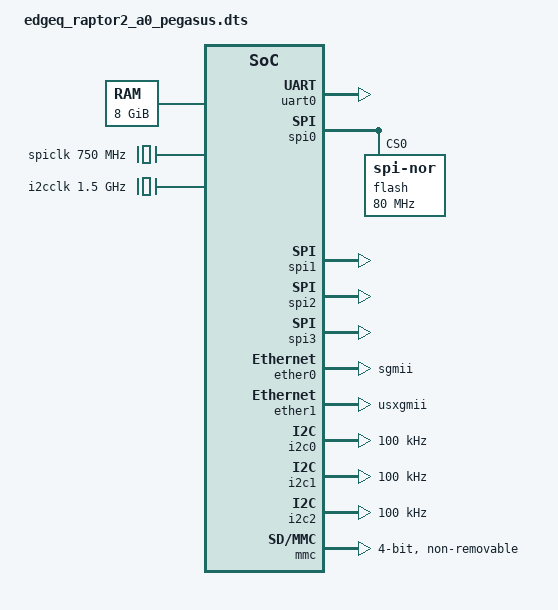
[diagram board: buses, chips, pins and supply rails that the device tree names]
/dts-v1/;

/ {
	interrupt-parent = <0x8001>;
	#size-cells = <0x2>;
	#address-cells = <0x2>;
	compatible = "linux,dummy-virt";

	aliases {
		spi0 = &spi0;
		spi1 = &spi1;
		spi2 = &spi2;
		spi3 = &spi3;
	};

	memory@400000000 {
		reg = <0x00000004 0x00000000 0x2 0x00000000>;
		device_type = "memory";
	};

	cpus {
		#size-cells = <0x0>;
		#address-cells = <0x1>;

		cpu@0 {
			reg = <0x0>;
			compatible = "arm,armv8";
			device_type = "cpu";
			enable-method = "psci";
		};

		cpu@1 {
			reg = <0x1>;
			compatible = "arm,armv8";
			device_type = "cpu";
			enable-method = "psci";
		};
	};

	psci {
		compatible = "arm,psci-1.0", "arm,psci-0.2";
		method = "smc";
	};

	chosen {
		stdout-path = &uart0;
	};

	uart0: serial@70434000 {
		clock-names = "uartclk";
		reg = <0x0 0x70434000 0x0 0x1000>;
		compatible = "ns16550a", "ns16550";
		clock-frequency = <1500000000>; /* 1.5 GHz */
		reg-shift = <3>;
		reg-offset = <0x40>;    /* Base * 2 */
	};

	spiclk: virt_100mhz {
		#clock-cells = <0>;
		compatible = "fixed-clock";
		clock-frequency = <750000000>;
	};

	spi0: spi@704d0000 {
		compatible = "andestech,atcspi200";
		reg = <0x0 0x704d0000 0x0 0x1000>;
		num-cs = <1>;
		/* interrupts = <0 12 4>; */
		clocks = <&spiclk>;
		#address-cells = <0x1>;
		#size-cells = <0x0>;
		reg-shift = <2>;
		flash@0 {
		     compatible = "jedec,spi-nor";
		     spi-max-frequency = <80000000>;
		     reg = <0>;
		};
	};

	spi1: spi@70420000 {
		compatible = "andestech,atcspi200";
		reg = <0x0 0x70420000 0x0 0x1000>;
		num-cs = <1>;
		clocks = <&spiclk>;
		#address-cells = <0x1>;
		#size-cells = <0x0>;
		reg-shift = <2>;
		data-merge;
	};

	spi2: spi@70430000 {
		compatible = "andestech,atcspi200";
		reg = <0x0 0x70430000 0x0 0x1000>;
		num-cs = <1>;
		clocks = <&spiclk>;
		#address-cells = <0x1>;
		#size-cells = <0x0>;
		reg-shift = <2>;
	};

	spi3: spi@68490000 {
		compatible = "andestech,atcspi200";
		reg = <0x0 0x68490000 0x0 0x1000>;
		num-cs = <1>;
		clocks = <&spiclk>;
		#address-cells = <0x1>;
		#size-cells = <0x0>;
		reg-shift = <1>;
	};

	ether0: ethernet@3c040000 {
		compatible = "edgeq,xgbe";
		reg = <0x0 0x3C040000 0x0 0x40000>,     // XGMAC/XLGMAC addr
		      <0x0 0x3C1C0000 0x0 0x40000>,     // XPCS/XLGPCS addr
		      <0x0 0x3C2C0000 0x0 0x10000>;     // MISC addr
		reg-names = "xgmac", "xpcs", "misc";
		max-speed = <2500>;
		phy-mode = "sgmii";
		phy-addr = <0x7>;
		phy-lane = <0>;
		eth-link = <2>;
		phy-rst-gpio = <53>;
		status = "okay";
	};

	ether1: ethernet@3c080000 {
		compatible = "edgeq,xgbe";
		reg = <0x0 0x3C080000 0x0 0x40000>,	// XGMAC/XLGMAC addr
		      <0x0 0x3C200000 0x0 0x40000>,	// XPCS/XLGPCS addr
		      <0x0 0x3C2C0000 0x0 0x10000>;	// MISC addr
		reg-names = "xgmac", "xpcs", "misc";
		max-speed = <10000>;
		phy-mode = "usxgmii";
		phy-addr = <0x0>;
		phy-lane = <1>;
		eth-link = <2>;
		phy-rst-gpio = <51>;
		status = "okay";
	};

	i2cclk: virt_1500mhz {
		#clock-cells = <0>;
		compatible = "fixed-clock";
		clock-frequency = <1500000000>;
	};

	i2c0: i2c@70400000 {
		status = "okay";
		compatible = "edgeq,raptor2-i2c";
		reg = <0 0x70400000 0x0 0x1000>;
		clocks = <&i2cclk>;
		clock-frequency = <100000>;
		address-cells = <1>;
		#size-cells = <0>;
		tpm = <29>;
		t_sp = <3>;
		t_sudat = <7>;
		t_hddat = <10>;
		t_sclhi = <245>;
		reg-shift = <2>;
	};

	i2c1: i2c@70408000 {
		status = "okay";
		compatible = "edgeq,raptor2-i2c";
		reg = <0 0x70408000 0x0 0x1000>;
		clocks = <&i2cclk>;
		clock-frequency = <100000>;
		#address-cells = <1>;
		#size-cells = <0>;
		tpm = <29>;
		t_sp = <3>;
		t_sudat = <7>;
		t_hddat = <10>;
		t_sclhi = <245>;
		reg-shift = <2>;
	};

	i2c2: i2c@70410000 {
		status = "okay";
		compatible = "edgeq,raptor2-i2c";
		reg = <0 0x70410000 0x0 0x1000>;
		clocks = <&i2cclk>;
		clock-frequency = <100000>;
		#address-cells = <1>;
		#size-cells = <0>;
		tpm = <29>;
		t_sp = <3>;
		t_sudat = <7>;
		t_hddat = <10>;
		t_sclhi = <245>;
		reg-shift = <2>;
	};

	ciu: mmcclk-ciu {
		#clock-cells = <0>;
		compatible = "fixed-clock";
		clock-frequency = <46000000>;
	};

	mmc: mmc@70500000 {
		compatible = "edgeq,raptor2-sdhci";
		reg = <0x0 0x70500000 0x0 0x1000>;
		bus-width = <4>;
		fifo-depth = <256>;
		clocks = <&ciu>;
		clock-names = "ciu";
		reg-shift = <2>;
		non-removable;
	};
};
